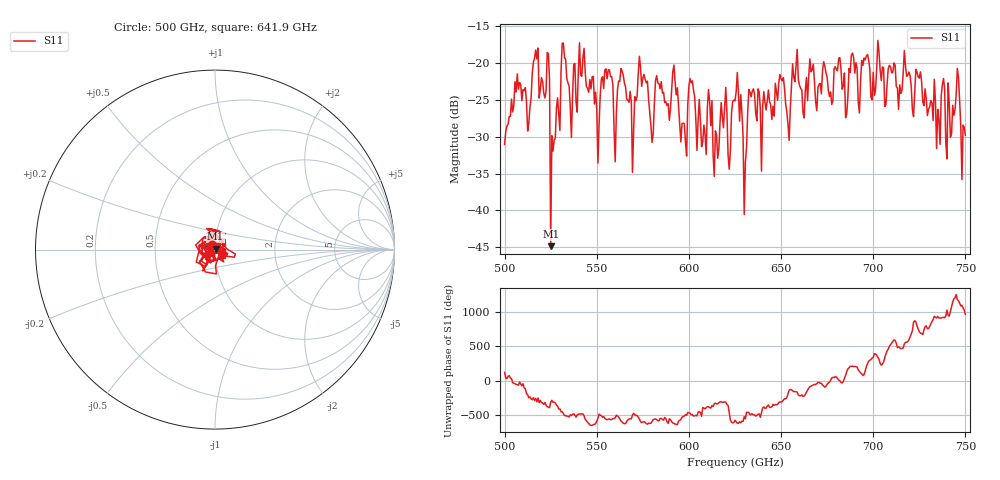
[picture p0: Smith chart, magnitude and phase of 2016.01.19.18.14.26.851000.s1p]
!Created with skrf (http://scikit-rf.org).
# GHz S RI R 50.0
!freq ReS11 ImS11
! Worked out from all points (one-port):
!   401 points, 500 GHz to 750 GHz, reference 50 ohm
!   lowest |S11| = -44.8 dB at 525 GHz (marker M1), VSWR 1.01, Z = 50.3 + j0.461 ohm
!   |S11| at or under -10 dB: start of sweep to end of sweep
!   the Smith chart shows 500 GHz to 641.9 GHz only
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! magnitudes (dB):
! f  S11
! 500 GHz  -31.1
! 506.9 GHz  -21.5
! 513.1 GHz  -28.2
! 516.9 GHz  -18.3
! 523.1 GHz  -18.6
! 525 GHz  -44.8
! 526.2 GHz  -32.0
! 531.2 GHz  -17.4
! 535.6 GHz  -26.1
! 541.9 GHz  -21.8
! 550 GHz  -26.3
! 562.5 GHz  -22.5
! 568.8 GHz  -25.3
! 573.8 GHz  -20.6
! 579.4 GHz  -28.5
! 593.8 GHz  -23.4
! 597.5 GHz  -28.3
! 601.2 GHz  -22.7
! 608.1 GHz  -28.4
! 611.2 GHz  -25.3
! 614.4 GHz  -29.2
! 625 GHz  -25.2
! 630.6 GHz  -33.5
! 633.8 GHz  -24.6
! 656.2 GHz  -20.2
! 687.5 GHz  -21.3
! 718.8 GHz  -21.7
! 750 GHz  -29.8
